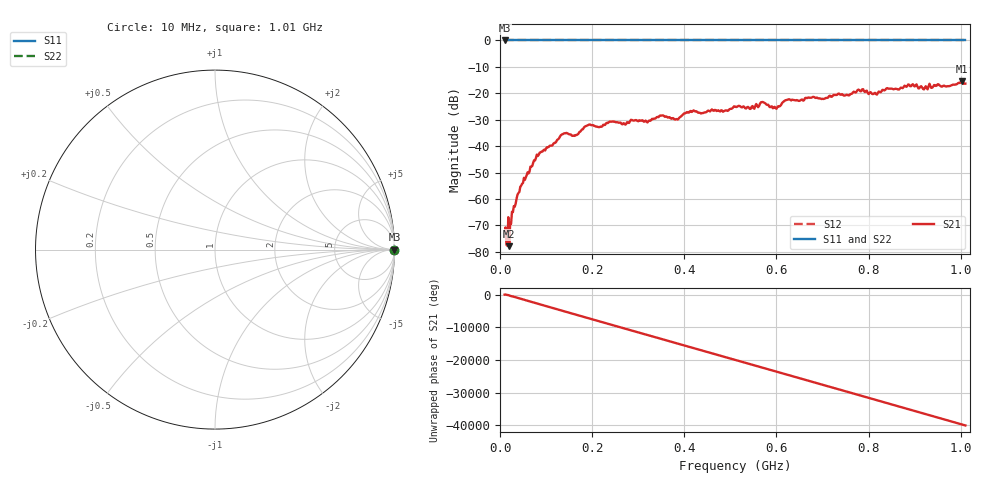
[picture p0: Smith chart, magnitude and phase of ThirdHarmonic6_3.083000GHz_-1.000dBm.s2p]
! 8/17/2025 9:02:49 AM
! C:\ANRITSUVNA\TEMP\TEMP.S2P
! CHANNEL.1
! TR.MEASUREMENT
! RAW.DATA
! RF.CORRECTION.OFF
! AVERAGING.OFF
! IF.BANDWIDTH: 5KHZ
! SWEEPTYPE:  FREQ.SWEEP(Linear)
! Reference Plane Port Info
! PORT:  PORT1  PORT2
! DISTANCE:  0  m  0  m
! TIME:  0  s  0  s
! PHASE.OFFSET:  0  deg.  0  deg.
! LOSS:  0  dB  0  dB
! REF.LOSS:  0  dB  0  dB
! REF.FREQ:  0  Hz  0  Hz
! Power Info
! POWER:  -20  dBm  -20  dBm
! EFF.POWER:  -20  dBm  -20  dBm
! SOURCE.ATTEN:  0  dB  0  dB
! TEST.ATTEN:  0  dB  0  dB
# GHZ S RI R 50.0
! FREQ.GHZ  S11RE  S11IM  S21RE  S21IM  S12RE  S12IM  S22RE  S22IM
!; PortSelection: Port_12
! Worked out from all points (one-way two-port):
!   501 points, 10 MHz to 1.01 GHz, reference 50 ohm
!   highest |S21| = -15.43 dB at 1.002 GHz (marker M1); lowest = -77.9 dB at 20 MHz (marker M2)
!   lowest |S11| = 0.0 dB at 10 MHz (marker M3)
!   |S11| at or under -10 dB: nowhere
!   |S22| runs from 0.0 to 0.0 dB; largest |S21 - S12| = 1.2
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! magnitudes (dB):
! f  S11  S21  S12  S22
! 10 MHz  0.0  -74.1  0.0  0.0
! 20 MHz  0.0  -77.9  0.0  0.0
! 30 MHz  0.0  -62.7  0.0  0.0
! 42 MHz  0.0  -57.3  0.0  0.0
! 82 MHz  0.0  -43.7  0.0  0.0
! 136 MHz  0.0  -35.5  0.0  0.0
! 162 MHz  0.0  -36.1  0.0  0.0
! 178 MHz  0.0  -33.7  0.0  0.0
! 344 MHz  0.0  -29.0  0.0  0.0
! 382 MHz  0.0  -29.8  0.0  0.0
! 416 MHz  0.0  -27.1  0.0  0.0
! 510 MHz  0.0  -25.0  0.0  0.0
! 548 MHz  0.0  -24.8  0.0  0.0
! 570 MHz  0.0  -23.3  0.0  0.0
! 596 MHz  0.0  -25.1  0.0  0.0
! 624 MHz  0.0  -22.4  0.0  0.0
! 678 MHz  0.0  -21.5  0.0  0.0
! 784 MHz  0.0  -19.2  0.0  0.0
! 814 MHz  0.0  -19.8  0.0  0.0
! 844 MHz  0.0  -18.3  0.0  0.0
! 1.002 GHz  0.0  -15.4  0.0  0.0
! 1.01 GHz  0.0  -16.3  0.0  0.0
